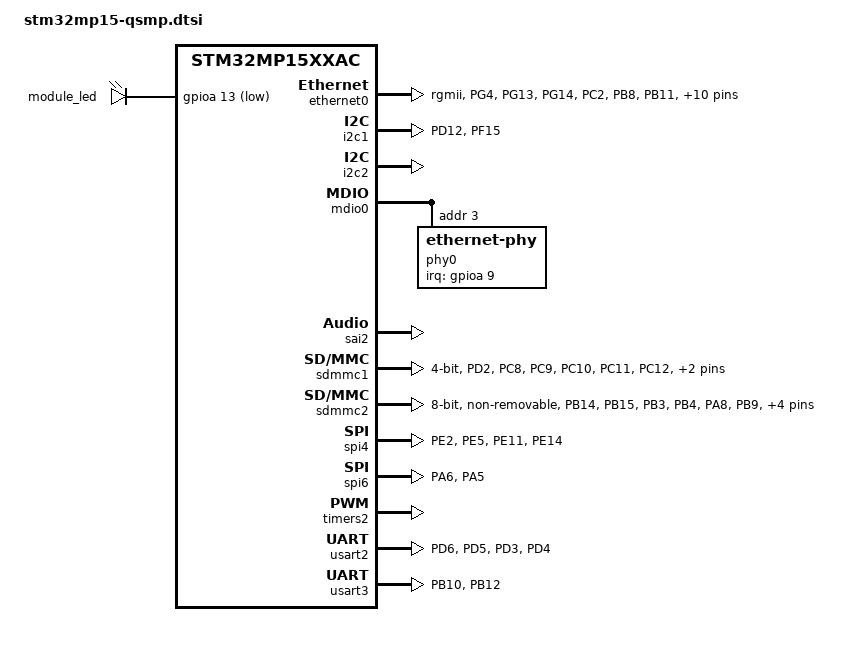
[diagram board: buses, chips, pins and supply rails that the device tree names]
// SPDX-License-Identifier: (GPL-2.0+ OR BSD-3-Clause)
/*
 * Copyright 2020 (C) Lothar Waßmann <LW@KARO-electronics.de>
 */

#include "stm32mp15xxac-pinctrl.dtsi"

/ {
	aliases {
		i2c1 = &i2c2;
		i2c2 = &i2c1;
	};
};

&ethernet0 {
	pinctrl-0 = <&qsmp_ethernet0_rgmii_pins_b>;
	pinctrl-1 = <&qsmp_ethernet0_rgmii_pins_sleep_b>;
	phy-mode = "rgmii";
	phy-reset-gpios = <&gpioa 4 GPIO_ACTIVE_LOW>;
	phy-reset-duration-us = <10000>;
	phy-reset-post-delay-us = <100>;
};

&i2c1 {
	pinctrl-names = "default", "sleep";
	pinctrl-0 = <&qsmp_i2c1_pins>;
	pinctrl-1 = <&qsmp_i2c1_sleep_pins>;
	status = "okay";
};

&i2c2 {
	pinctrl-names = "default", "sleep";
	pinctrl-0 = <&qsmp_i2c2_pins_z>;
	pinctrl-1 = <&qsmp_i2c2_sleep_pins_z>;
	status = "okay";
};

&lcd_backlight {
	gpios = <&gpioa 15 GPIO_ACTIVE_LOW>;
};

&lcd_panel {
	pinctrl-0 = <&qsmp_ltdc_pins>;
	pinctrl-1 = <&qsmp_ltdc_pins_sleep>;
	enable-gpios = <&gpioa 10 GPIO_ACTIVE_HIGH>;
	power-supply = <&reg_3v3>;
};

&mdio0 {
	phy0: ethernet-phy@3 {
		reg = <3>;
		interrupt-parent = <&gpioa>;
		interrupts = <9 IRQ_TYPE_EDGE_FALLING>;
		micrel,force-master;
		rxd0-skew-ps = <(420 + 6)>;
		rxd1-skew-ps = <(420 + 5)>;
		rxd2-skew-ps = <(420 - 1)>;
		rxd3-skew-ps = <(420 - 22)>;
		txd0-skew-ps = <(420 - 103)>;
		txd1-skew-ps = <(420 - 104)>;
		txd2-skew-ps = <(420 - 73)>;
		txd3-skew-ps = <(420 - 25)>;
		rxdv-skew-ps = <(420 - 12)>;
		txen-skew-ps = <(420 + 15)>;
		rxc-skew-ps = <(900 - 0)>;
		txc-skew-ps = <(900 + 1000)>;
	};
};

&module_led {
	pinctrl-0 = <&qsmp_led_pins>;
	pinctrl-1 = <&qsmp_led_sleep_pins>;
	gpios = <&gpioa 13 GPIO_ACTIVE_LOW>;
};

&sai2 {
	status = "okay";

	sai2a: audio-controller@4400b004 {
		pinctrl-names = "default", "sleep";
		pinctrl-0 = <&qsmp_sai2a_pins>;
		pinctrl-1 = <&qsmp_sai2a_sleep_pins>;
		status = "okay";
	};
};

&sdmmc1 {
	pinctrl-names = "default", "opendrain", "sleep";
	pinctrl-0 = <&sdmmc1_pins &sdmmc1_cd_pins>;
	pinctrl-1 = <&sdmmc1_opendrain_pins &sdmmc1_cd_pins>;
	pinctrl-2 = <&sdmmc1_sleep_pins &sdmmc1_cd_pins>;
	bus-width = <4>;
	cd-gpios = <&gpiob 7 GPIO_ACTIVE_LOW>;
	st,neg-edge;
	status = "okay";
};

&sdmmc2 {
	/* eMMC */
	pinctrl-names = "default", "opendrain", "sleep";
	pinctrl-0 = <&qsmp_sdmmc2_pins>;
	pinctrl-1 = <&qsmp_sdmmc2_opendrain_pins>;
	pinctrl-2 = <&qsmp_sdmmc2_sleep_pins>;
	bus-width = <8>;
	no-sd;
	no-sdio;
	st,neg-edge;
	non-removable;
	status = "okay";
};

&sdmmc2 {
	bus-width = <8>;
};

&spi4 {
	pinctrl-names = "default";
	pinctrl-0 = <&spi4_pins>;
	pinctrl-1 = <&spi4_sleep_pins>;
	status = "okay";
};

&spi6 {
	pinctrl-names = "default", "sleep";
	pinctrl-0 = <&spi6_pins>;
	pinctrl-1 = <&spi6_sleep_pins>;
	status = "okay";
};

&timers2 {
	status = "okay";

	pwm {
		pinctrl-names = "default", "sleep";
		pinctrl-0 = <&tim2_pwm_pins>;
		pinctrl-1 = <&tim2_pwm_sleep_pins>;
		status = "okay";
	};
};

&usart2 {
	pinctrl-names = "default", "sleep";
	pinctrl-0 = <&usart2_pins &usart2_rtscts_pins>;
	pinctrl-1 = <&usart2_sleep_pins &usart2_rtscts_sleep_pins>;
	status = "okay";
};

&usart3 {
	pinctrl-names = "default", "sleep";
	pinctrl-0 = <&usart3_pins>;
	pinctrl-1 = <&usart3_sleep_pins>;
	status = "okay";
};

&pinctrl {
	qsmp_ethernet0_rgmii_pins_b: rgmii-pins-b {
		pins1 {
			pinmux = <
				  STM32_PINMUX('G', 4, AF11) /* ETH_RGMII_GTX_CLK */
				  STM32_PINMUX('G', 13, AF11) /* ETH_RGMII_TXD0 */
				  STM32_PINMUX('G', 14, AF11) /* ETH_RGMII_TXD1 */
				  STM32_PINMUX('C', 2, AF11) /* ETH_RGMII_TXD2 */
				  STM32_PINMUX('B', 8, AF11) /* ETH_RGMII_TXD3 */
			>;
			bias-disable;
			drive-push-pull;
			slew-rate = <3>;
		};

		pins2 {
			pinmux = <
				  STM32_PINMUX('B', 11, AF11) /* ETH_RGMII_TX_CTL */
				  STM32_PINMUX('A', 2, AF11) /* ETH_MDIO */
				  STM32_PINMUX('C', 1, AF11) /* ETH_MDC */
			>;
			bias-disable;
			drive-push-pull;
			slew-rate = <1>;
		};

		pins3 {
			/* Micrel KSZ9031 strap pins */
			pinmux = <
				  STM32_PINMUX('A', 7, AF11) /* RX_CTL | CLK125_EN */
				  STM32_PINMUX('C', 4, AF11) /* RXD0 | MODE0 */
				  STM32_PINMUX('C', 5, AF11) /* RXD1 | MODE1 */
				  STM32_PINMUX('B', 0, AF11) /* RXD2 | MODE2 */
				  STM32_PINMUX('H', 7, AF11) /* RXD3 | MODE3 */
			>;
			bias-pull-up;
		};

		pins4 {
			pinmux = <
				  STM32_PINMUX('G', 5, AF11) /* CLK125 | LED_MODE */
				  STM32_PINMUX('A', 1, AF11) /* RX_CLK | PHYAD2 */
			>;
			bias-pull-down;
		};
	};

	qsmp_ethernet0_rgmii_pins_sleep_b: rgmii-pins-sleep-b {
		pins1 {
			pinmux = <
				  STM32_PINMUX('G', 5, ANALOG) /* ETH_RGMII_CLK125 */
				  STM32_PINMUX('G', 4, ANALOG) /* ETH_RGMII_GTX_CLK */
				  STM32_PINMUX('G', 13, ANALOG) /* ETH_RGMII_TXD0 */
				  STM32_PINMUX('G', 14, ANALOG) /* ETH_RGMII_TXD1 */
				  STM32_PINMUX('C', 2, ANALOG) /* ETH_RGMII_TXD2 */
				  STM32_PINMUX('B', 8, ANALOG) /* ETH_RGMII_TXD3 */
				  STM32_PINMUX('B', 11, ANALOG) /* ETH_RGMII_TX_CTL */
				  STM32_PINMUX('A', 2, ANALOG) /* ETH_MDIO */
				  STM32_PINMUX('C', 1, ANALOG) /* ETH_MDC */
				  STM32_PINMUX('C', 4, ANALOG) /* ETH_RGMII_RXD0 */
				  STM32_PINMUX('C', 5, ANALOG) /* ETH_RGMII_RXD1 */
				  STM32_PINMUX('B', 0, ANALOG) /* ETH_RGMII_RXD2 */
				  STM32_PINMUX('H', 7, ANALOG) /* ETH_RGMII_RXD3 */
				  STM32_PINMUX('A', 1, ANALOG) /* ETH_RGMII_RX_CLK */
				  STM32_PINMUX('A', 7, ANALOG) /* ETH_RGMII_RX_CTL */
			>;
		};
	};

	qsmp_i2c1_pins: qsmp_i2c1-pins {
		pins {
			pinmux = <
				  STM32_PINMUX('D', 12, AF5) /* I2C1_SCL */
				  STM32_PINMUX('F', 15, AF5) /* I2C1_SDA */
			>;
			bias-disable;
			drive-open-drain;
			slew-rate = <0>;
		};
	};

	qsmp_i2c1_sleep_pins: qsmp_i2c1-sleep-pins {
		pins {
			pinmux = <
				  STM32_PINMUX('D', 12, ANALOG) /* I2C1_SCL */
				  STM32_PINMUX('F', 15, ANALOG) /* I2C1_SDA */
			>;
		};
	};

	qsmp_led_pins: qsmp-led-pins {
		pins {
			pinmux = <STM32_PINMUX('A', 13, GPIO)>; /* module LED */
			bias-pull-up;
			drive-push-pull;
			slew-rate = <0>;
		};
	};

	qsmp_led_sleep_pins: qsmp-led-sleep-pins {
		pins {
			pinmux = <STM32_PINMUX('A', 13, ANALOG)>; /* module LED */
		};
	};

	qsmp_ltdc_pins: qsmp-lcd-pins {
		pins {
			pinmux = <
				  STM32_PINMUX('G',  7, AF14) /* LCD_CLK */
				  STM32_PINMUX('I', 10, AF14) /* LCD_HSYNC */
				  STM32_PINMUX('I',  9, AF14) /* LCD_VSYNC */
				  STM32_PINMUX('E', 13, AF14) /* LCD_DE */

				  STM32_PINMUX('H',  2, AF14) /* LCD_R0 */
				  STM32_PINMUX('H',  3, AF14) /* LCD_R1 */
				  STM32_PINMUX('H',  8, AF14) /* LCD_R2 */
				  STM32_PINMUX('H',  9, AF14) /* LCD_R3 */
				  STM32_PINMUX('H', 10, AF14) /* LCD_R4 */
				  STM32_PINMUX('H', 11, AF14) /* LCD_R5 */
				  STM32_PINMUX('H', 12, AF14) /* LCD_R6 */
				  STM32_PINMUX('E', 15, AF14) /* LCD_R7 */
				  STM32_PINMUX('B',  1, AF14) /* LCD_G0 */
				  STM32_PINMUX('E',  6, AF14) /* LCD_G1 */
				  STM32_PINMUX('H', 13, AF14) /* LCD_G2 */
				  STM32_PINMUX('H', 14, AF14) /* LCD_G3 */
				  STM32_PINMUX('H', 15, AF14) /* LCD_G4 */
				  STM32_PINMUX('I',  0, AF14) /* LCD_G5 */
				  STM32_PINMUX('I',  1, AF14) /* LCD_G6 */
				  STM32_PINMUX('I',  2, AF14) /* LCD_G7 */
				  STM32_PINMUX('E',  4, AF14) /* LCD_B0 */
				  STM32_PINMUX('G', 12, AF14) /* LCD_B1 */
				  STM32_PINMUX('G', 10, AF14) /* LCD_B2 */
				  STM32_PINMUX('D', 10, AF14) /* LCD_B3 */
				  STM32_PINMUX('I',  4, AF14) /* LCD_B4 */
				  STM32_PINMUX('I',  5, AF14) /* LCD_B5 */
				  STM32_PINMUX('I',  6, AF14) /* LCD_B6 */
				  STM32_PINMUX('D',  8, AF14) /* LCD_B7 */
			>;
			bias-disable;
			drive-push-pull;
			slew-rate = <3>;
		};
	};

	qsmp_ltdc_pins_sleep: qsmp-lcd-pins-sleep {
		pins {
			pinmux = <
				  STM32_PINMUX('G',  7, ANALOG) /* LCD_CLK */
				  STM32_PINMUX('I', 10, ANALOG) /* LCD_HSYNC */
				  STM32_PINMUX('I',  9, ANALOG) /* LCD_VSYNC */
				  STM32_PINMUX('E', 13, ANALOG) /* LCD_DE */

				  STM32_PINMUX('H',  2, ANALOG) /* LCD_R0 */
				  STM32_PINMUX('H',  3, ANALOG) /* LCD_R1 */
				  STM32_PINMUX('H',  8, ANALOG) /* LCD_R2 */
				  STM32_PINMUX('H',  9, ANALOG) /* LCD_R3 */
				  STM32_PINMUX('H', 10, ANALOG) /* LCD_R4 */
				  STM32_PINMUX('H', 11, ANALOG) /* LCD_R5 */
				  STM32_PINMUX('H', 12, ANALOG) /* LCD_R6 */
				  STM32_PINMUX('E', 15, ANALOG) /* LCD_R7 */
				  STM32_PINMUX('B',  1, ANALOG) /* LCD_G0 */
				  STM32_PINMUX('E',  6, ANALOG) /* LCD_G1 */
				  STM32_PINMUX('H', 13, ANALOG) /* LCD_G2 */
				  STM32_PINMUX('H', 14, ANALOG) /* LCD_G3 */
				  STM32_PINMUX('H', 15, ANALOG) /* LCD_G4 */
				  STM32_PINMUX('I',  0, ANALOG) /* LCD_G5 */
				  STM32_PINMUX('I',  1, ANALOG) /* LCD_G6 */
				  STM32_PINMUX('I',  2, ANALOG) /* LCD_G7 */
				  STM32_PINMUX('E',  4, ANALOG) /* LCD_B0 */
				  STM32_PINMUX('G', 12, ANALOG) /* LCD_B1 */
				  STM32_PINMUX('G', 10, ANALOG) /* LCD_B2 */
				  STM32_PINMUX('D', 10, ANALOG) /* LCD_B3 */
				  STM32_PINMUX('I',  4, ANALOG) /* LCD_B4 */
				  STM32_PINMUX('I',  5, ANALOG) /* LCD_B5 */
				  STM32_PINMUX('I',  6, ANALOG) /* LCD_B6 */
				  STM32_PINMUX('D',  8, ANALOG) /* LCD_B7 */
			>;
		};
	};

	qsmp_sai2a_pins: qsmp-sai2a-pins {
		pins {
			pinmux = <
				  STM32_PINMUX('D', 11, AF10) /* SAI2_SD_A | SAI_TX */
				  STM32_PINMUX('A', 0, AF10) /* SAI2_SD_B | SAI_RX */
				  STM32_PINMUX('I', 7, AF10) /* SAI2_FS_A | SAI_FS */
				  STM32_PINMUX('D', 13, AF10) /* SAI2_SCK_A | SAI_SCK */
			>;
			bias-disable;
			drive-push-pull;
			slew-rate = <0>;
		};
	};

	qsmp_sai2a_sleep_pins: qsmp-sai2a-sleep-pins {
		pins {
			pinmux = <
				  STM32_PINMUX('D', 11, ANALOG)
				  STM32_PINMUX('A', 0, ANALOG)
				  STM32_PINMUX('I', 7, ANALOG)
				  STM32_PINMUX('D', 13, ANALOG)
			>;
		};
	};

	qsmp_sdmmc2_pins: qsmp-sdmmc2-pins {
		pins1 {
			pinmux = <
				  STM32_PINMUX('B', 14, AF9)	/* SDMMC2_D0 */
				  STM32_PINMUX('B', 15, AF9)	/* SDMMC2_D1 */
				  STM32_PINMUX('B', 3, AF9)	/* SDMMC2_D2 */
				  STM32_PINMUX('B', 4, AF9)	/* SDMMC2_D3 */
				  STM32_PINMUX('A', 8, AF9)	/* SDMMC2_D4 */
				  STM32_PINMUX('B', 9, AF10)	/* SDMMC2_D5 */
				  STM32_PINMUX('C', 6, AF10)	/* SDMMC2_D6 */
				  STM32_PINMUX('C', 7, AF10)	/* SDMMC2_D7 */
				  STM32_PINMUX('G', 6, AF10)	/* SDMMC2_CMD */
			>;
			bias-disable;
			drive-push-pull;
			slew-rate = <1>;
		};

		pins2 {
			pinmux = <STM32_PINMUX('E', 3, AF9)>; /* SDMMC2_CK */
			bias-disable;
			drive-push-pull;
			slew-rate = <3>;
		};
	};

	qsmp_sdmmc2_opendrain_pins: qsmp-sdmmc2-opendrain-pins {
		pins1 {
			pinmux = <
				  STM32_PINMUX('B', 14, AF9)	/* SDMMC2_D0 */
				  STM32_PINMUX('B', 15, AF9)	/* SDMMC2_D1 */
				  STM32_PINMUX('B', 3, AF9)	/* SDMMC2_D2 */
				  STM32_PINMUX('B', 4, AF9)	/* SDMMC2_D3 */
				  STM32_PINMUX('A', 8, AF9)	/* SDMMC2_D4 */
				  STM32_PINMUX('B', 9, AF9)	/* SDMMC2_D5 */
				  STM32_PINMUX('C', 6, AF9)	/* SDMMC2_D6 */
				  STM32_PINMUX('C', 7, AF9)	/* SDMMC2_D7 */
			>;
			bias-disable;
			drive-push-pull;
			slew-rate = <1>;
		};

		pins2 {
			pinmux = <STM32_PINMUX('E', 3, AF9)>; /* SDMMC2_CK */
			bias-disable;
			drive-push-pull;
			slew-rate = <3>;
		};

		pins3 {
			pinmux = <STM32_PINMUX('G', 6, AF10)>;	/* SDMMC2_CMD */
			bias-disable;
			drive-open-drain;
			slew-rate = <1>;
		};
	};

	qsmp_sdmmc2_sleep_pins: qsmp-sdmmc2-sleep-pins {
		pins {
			pinmux = <
				  STM32_PINMUX('B', 14, ANALOG)	/* SDMMC2_D0 */
				  STM32_PINMUX('B', 15, ANALOG)	/* SDMMC2_D1 */
				  STM32_PINMUX('B', 3, ANALOG)	/* SDMMC2_D2 */
				  STM32_PINMUX('B', 4, ANALOG)	/* SDMMC2_D3 */
				  STM32_PINMUX('A', 8, ANALOG)	/* SDMMC2_D4 */
				  STM32_PINMUX('B', 9, ANALOG)	/* SDMMC2_D5 */
				  STM32_PINMUX('C', 6, ANALOG)	/* SDMMC2_D6 */
				  STM32_PINMUX('C', 7, ANALOG)	/* SDMMC2_D7 */
				  STM32_PINMUX('G', 6, ANALOG)	/* SDMMC2_CMD */
				  STM32_PINMUX('E', 3, ANALOG)	/* SDMMC2_CK */
			>;
		};
	};

	sdmmc1_pins: sdmmc1-pins {
		pins1 {
			pinmux = <
				  STM32_PINMUX('D', 2, AF12)	/* SDMMC1_CMD */
				  STM32_PINMUX('C', 8, AF12)	/* SDMMC1_D0 */
				  STM32_PINMUX('C', 9, AF12)	/* SDMMC1_D1 */
				  STM32_PINMUX('C', 10, AF12)	/* SDMMC1_D2 */
				  STM32_PINMUX('C', 11, AF12)	/* SDMMC1_D3 */
			>;
			bias-disable;
			drive-push-pull;
			slew-rate = <1>;
		};

		pins2 {
			pinmux = <STM32_PINMUX('C', 12, AF12)>; /* SDMMC1_CK */
			bias-disable;
			drive-push-pull;
			slew-rate = <2>;
		};
	};

	sdmmc1_cd_pins: sdmmc1-cd-pins {
		pins {
			pinmux = <STM32_PINMUX('B', 7, GPIO)>; /* CD */
			bias-pull-up;
		};
	};

	sdmmc1_opendrain_pins: sdmmc1-opendrain-pins {
		pins1 {
			pinmux = <
				  STM32_PINMUX('C', 8, AF12)	/* SDMMC1_D0 */
				  STM32_PINMUX('C', 9, AF12)	/* SDMMC1_D1 */
				  STM32_PINMUX('C', 10, AF12)	/* SDMMC1_D2 */
				  STM32_PINMUX('C', 11, AF12)	/* SDMMC1_D3 */
			>;
			bias-disable;
			drive-push-pull;
			slew-rate = <1>;
		};

		pins2 {
			pinmux = <STM32_PINMUX('C', 12, AF12)>;	/* SDMMC1_CK */
			bias-disable;
			drive-push-pull;
			slew-rate = <2>;
		};

		pins3 {
			pinmux = <
				  STM32_PINMUX('D', 2, AF12)	/* SDMMC1_CMD */
			>;
			bias-disable;
			drive-open-drain;
			slew-rate = <1>;
		};
	};

	sdmmc1_sleep_pins: sdmmc1-sleep-pins {
		pins1 {
			pinmux = <
				  STM32_PINMUX('D', 2, ANALOG)	/* SDMMC1_CMD */
				  STM32_PINMUX('C', 8, ANALOG)	/* SDMMC1_D0 */
				  STM32_PINMUX('C', 9, ANALOG)	/* SDMMC1_D1 */
				  STM32_PINMUX('C', 10, ANALOG)	/* SDMMC1_D2 */
				  STM32_PINMUX('C', 11, ANALOG)	/* SDMMC1_D3 */
				  STM32_PINMUX('C', 12, ANALOG)	/* SDMMC1_CK */
			>;
		};
	};

	sdmmc2_opendrain_pins: sdmmc2-opendrain-pins {
		pins1 {
			pinmux = <
				  STM32_PINMUX('G', 6, AF10)	/* SDMMC2_CMD */
			>;
			bias-pull-up;
			drive-open-drain;
			slew-rate = <1>;
		};

		pins2 {
			pinmux = <
				  STM32_PINMUX('B', 14, AF9)	/* SDMMC2_D0 */
				  STM32_PINMUX('B', 15, AF9)	/* SDMMC2_D1 */
				  STM32_PINMUX('B', 3, AF9)	/* SDMMC2_D2 */
				  STM32_PINMUX('B', 4, AF9)	/* SDMMC2_D3 */
				  STM32_PINMUX('A', 8, AF9)	/* SDMMC2_D4 */
				  STM32_PINMUX('B', 9, AF10)	/* SDMMC2_D5 */
				  STM32_PINMUX('C', 6, AF10)	/* SDMMC2_D6 */
				  STM32_PINMUX('C', 7, AF10)	/* SDMMC2_D7 */
			>;
			bias-disable;
			drive-push-pull;
			slew-rate = <1>;
		};

		pins3 {
			pinmux = <STM32_PINMUX('E', 3, AF9)>; /* SDMMC2_CK */
			bias-disable;
			drive-push-pull;
			slew-rate = <3>;
		};
	};

	sdmmc2_sleep_pins: sdmmc2-sleep-pins {
		pins {
			pinmux = <
				  STM32_PINMUX('B', 14, ANALOG)	/* SDMMC2_D0 */
				  STM32_PINMUX('B', 15, ANALOG)	/* SDMMC2_D1 */
				  STM32_PINMUX('B', 3, ANALOG)	/* SDMMC2_D2 */
				  STM32_PINMUX('B', 4, ANALOG)	/* SDMMC2_D3 */
				  STM32_PINMUX('A', 8, ANALOG)	/* SDMMC2_D4 */
				  STM32_PINMUX('B', 9, ANALOG)	/* SDMMC2_D5 */
				  STM32_PINMUX('C', 6, ANALOG)	/* SDMMC2_D6 */
				  STM32_PINMUX('C', 7, ANALOG)	/* SDMMC2_D7 */
				  STM32_PINMUX('G', 6, ANALOG)	/* SDMMC2_CMD */
				  STM32_PINMUX('E', 3, ANALOG)	/* SDMMC2_CK */
			>;
		};
	};

	spi4_pins: spi4-pins {
		pins {
			pinmux = <
				  STM32_PINMUX('E', 2, AF5) /* SPI4_SCK */
				  STM32_PINMUX('E', 5, AF5) /* SPI4_MISO */
				  STM32_PINMUX('E', 11, AF5) /* SPI4_NSS */
				  STM32_PINMUX('E', 14, AF5) /* SPI4_MOSI */
			>;
			bias-disable;
			drive-push-pull;
			slew-rate = <1>;
		};
	};

	spi4_sleep_pins: spi4-sleep-pins {
		pins {
			pinmux = <
				  STM32_PINMUX('E', 2, ANALOG) /* SPI4_SCK */
				  STM32_PINMUX('E', 5, ANALOG) /* SPI4_MISO */
				  STM32_PINMUX('E', 11, ANALOG) /* SPI4_NSS */
				  STM32_PINMUX('E', 14, ANALOG) /* SPI4_MOSI */
			>;
		};
	};

	spi6_pins: spi6-pins {
		pins {
			pinmux = <
				  STM32_PINMUX('A', 6, AF8) /* SPI6_MISO */
				  STM32_PINMUX('A', 5, AF8) /* SPI6_SCK */
			>;
			bias-disable;
			drive-push-pull;
			slew-rate = <1>;
		};
	};

	spi6_sleep_pins: spi6-sleep-pins {
		pins {
			pinmux = <
				  STM32_PINMUX('A', 6, ANALOG) /* SPI6_MISO */
				  STM32_PINMUX('A', 5, ANALOG) /* SPI6_SCK */
			>;
		};
	};

	tim2_pwm_pins: tim2-pwm-pins {
		pins {
			pinmux = <STM32_PINMUX('A', 15, AF1)>; /* TIM2_CH1 */
			bias-disable;
			drive-push-pull;
			slew-rate = <0>;
		};
	};

	tim2_pwm_sleep_pins: tim2-pwm-sleep-pins {
		pins {
			pinmux = <STM32_PINMUX('A', 15, ANALOG)>;
		};
	};

	uart4_pins: uart4-pins {
		pins1 {
			pinmux = <STM32_PINMUX('B', 2, AF8)>; /* UART4_RX */
			bias-pull-up;
		};

		pins2 {
			pinmux = <STM32_PINMUX('G', 11, AF6)>; /* UART4_TX */
			bias-disable;
			drive-push-pull;
			slew-rate = <0>;
		};
	};

	usart2_pins: usart2-pins {
		pins1 {
			pinmux = <
				  STM32_PINMUX('D', 6, AF7) /* USART2_RX */
			>;
			bias-disable;
		};

		pins2 {
			pinmux = <
				  STM32_PINMUX('D', 5, AF7) /* USART2_TX */
			>;
			bias-disable;
			drive-push-pull;
			slew-rate = <0>;
		};
	};

	usart2_rtscts_pins: usart2-rtscts-pins {
		pins1 {
			pinmux = <
				  STM32_PINMUX('D', 3, AF7) /* USART2_CTS */
			>;
			bias-disable;
		};

		pins2 {
			pinmux = <
				  STM32_PINMUX('D', 4, AF7) /* USART2_RTS */
			>;
			bias-disable;
			drive-push-pull;
			slew-rate = <0>;
		};
	};

	usart2_sleep_pins: usart2-sleep-pins {
		pins {
			pinmux = <
				  STM32_PINMUX('D', 5, ANALOG) /* USART2_TX */
				  STM32_PINMUX('D', 6, ANALOG) /* USART2_RX */
			>;
		};
	};

	usart2_rtscts_sleep_pins: usart2-rtscts-sleep-pins {
		pins {
			pinmux = <
				  STM32_PINMUX('D', 3, ANALOG) /* USART2_CTS */
				  STM32_PINMUX('D', 4, ANALOG) /* USART2_RTS */
			>;
		};
	};

	usart3_pins: usart3-pins {
		pins1 {
			pinmux = <STM32_PINMUX('B', 10, AF7)>; /* USART3_TX */
			bias-disable;
			drive-push-pull;
			slew-rate = <0>;
		};

		pins2 {
			pinmux = <STM32_PINMUX('B', 12, AF8)>; /* USART3_RX */
			bias-disable;
		};
	};

	usart3_sleep_pins: usart3-sleep-pins {
		pins {
			pinmux = <STM32_PINMUX('B', 10, ANALOG) /* USART3_TX */
				  STM32_PINMUX('B', 12, ANALOG) /* USART3_RX */
			>;
		};
	};
};

&pinctrl_z {
	qsmp_i2c2_pins_z: qsmp_i2c2-pins-z {
		pins {
			pinmux = <
				  STM32_PINMUX('Z', 0, AF3) /* I2C2_SCL */
				  STM32_PINMUX('Z', 1, AF3) /* I2C2_SDA */
			>;
			bias-disable;
			drive-open-drain;
			slew-rate = <0>;
		};
	};

	qsmp_i2c2_sleep_pins_z: qsmp_i2c2-sleep-pins-z {
		pins {
			pinmux = <
				  STM32_PINMUX('Z', 0, ANALOG) /* I2C2_SCL */
				  STM32_PINMUX('Z', 1, ANALOG) /* I2C2_SDA */
			>;
		};
	};

	spi6_pins_z: spi6-pins-z {
		pins {
			pinmux = <
				  STM32_PINMUX('Z', 3, AF8) /* SPI6_NSS */
				  STM32_PINMUX('Z', 2, AF8) /* SPI6_MOSI */
			>;
			bias-disable;
			drive-push-pull;
			slew-rate = <1>;
		};
	};

	spi6_sleep_pins_z: spi6-sleep-pins-z {
		pins {
			pinmux = <
				  STM32_PINMUX('Z', 3, ANALOG) /* SPI6_NSS */
				  STM32_PINMUX('Z', 2, ANALOG) /* SPI6_MOSI */
			>;
		};
	};
};
